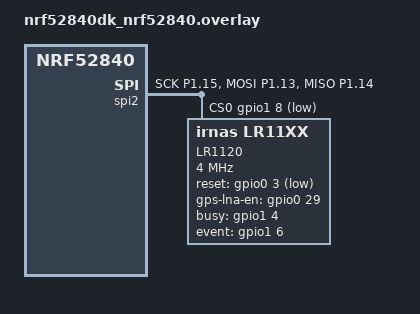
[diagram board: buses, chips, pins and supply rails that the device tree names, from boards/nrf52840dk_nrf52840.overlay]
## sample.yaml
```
sample:
  description: Demonstrates synchronizing device time over LoRaWAN
  name: LoRaWAN time synchronization
common:
  tags:
    - release
  platform_allow:
    - nrf52840dk_nrf52840
tests:
  sample.time_sync: {}
```

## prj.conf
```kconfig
# required for floorf (which is used within the smtc_modem lib)
CONFIG_NEWLIB_LIBC=y

# stack size (2048 required by Semtech)
CONFIG_MAIN_STACK_SIZE=4096
# some operations will be triggered from the system workq, so match above stack size
CONFIG_SYSTEM_WORKQUEUE_STACK_SIZE=4096
# heap size
CONFIG_HEAP_MEM_POOL_SIZE=4096

CONFIG_LOG_BUFFER_SIZE=4096

CONFIG_PINCTRL=y

CONFIG_GPIO=y
CONFIG_SERIAL=y
CONFIG_CONSOLE=y
CONFIG_UART_CONSOLE=y
CONFIG_LOG=y
CONFIG_LOG_BACKEND_UART=y

CONFIG_TEST_RANDOM_GENERATOR=y

CONFIG_SPI=y
CONFIG_LR11XX_LIB=y
# CONFIG_LR11XX_LOG_LEVEL_INF=y

CONFIG_LORA_BASICS_MODEM=y
CONFIG_LORA_BASICS_MODEM_TIME_SYNC=y

#requirements for CONFIG_LORA_BASICS_MODEM
CONFIG_REBOOT=y

CONFIG_SETTINGS=y
CONFIG_SETTINGS_NVS=y

CONFIG_NVS=y
CONFIG_FLASH=y
CONFIG_FLASH_MAP=y

# debug
CONFIG_ASSERT=y
CONFIG_DEBUG=y
```

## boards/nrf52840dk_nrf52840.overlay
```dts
#include <lr11xx_bindings_def.h>
&spi1 {
    status = "disabled";
};

&spi2 {
    compatible = "nordic,nrf-spi";
    status = "okay";
    pinctrl-0 = <&spi2_default>;
    pinctrl-1 = <&spi2_sleep>;
    pinctrl-names = "default", "sleep";

    cs-gpios = <&gpio1 8 GPIO_ACTIVE_LOW>;
    lr1120: lr1120@0 {
        compatible = "irnas,lr11xx";
        reg = <0>;
        spi-max-frequency = <4000000>;
        label = "LR1120";

        reset-gpios = <&gpio0 3 GPIO_ACTIVE_LOW>;
        gps-lna-en-gpios = <&gpio0 29 0>;
        busy-gpios = <&gpio1 4 GPIO_ACTIVE_HIGH>;
        event-gpios = <&gpio1 6 (GPIO_ACTIVE_HIGH | GPIO_PULL_DOWN) >;

        rf-sw-enable = <(LR11XX_DIO5 | LR11XX_DIO6 | LR11XX_DIO7)>;
        rf-sw-rx-mode = <LR11XX_DIO5>;
        rf-sw-tx-mode = <(LR11XX_DIO5 | LR11XX_DIO6)>;
        rf-sw-tx-hp-mode = <LR11XX_DIO6>;
        rf-sw-gnss-mode = <LR11XX_DIO7>;
    };
};

&pinctrl {
	spi2_default: spi2_default {
		group1 {
			psels = <NRF_PSEL(SPIM_SCK, 1, 15)>,
			        <NRF_PSEL(SPIM_MOSI, 1, 13)>,
			        <NRF_PSEL(SPIM_MISO, 1, 14)>;
		};
	};

	spi2_sleep: spi2_sleep {
		group1 {
			psels = <NRF_PSEL(SPIM_SCK, 1, 15)>,
			        <NRF_PSEL(SPIM_MOSI, 1, 13)>,
			        <NRF_PSEL(SPIM_MISO, 1, 14)>;
			low-power-enable;
		};
	};
};
```

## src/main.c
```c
/** @file main.c
 *
 * @brief LoRaWAN time sync example
 *
 * @par
 * COPYRIGHT NOTICE: (c) 2022 Irnas. All rights reserved.
 */

#include <smtc_modem_api.h>

#include <smtc_app.h>
#include <smtc_modem_api_str.h>

/* include hal and ralf so that initialization can be done */
#include <ralf_lr11xx.h>
#include <smtc_modem_hal.h>

#include <zephyr/device.h>
#include <zephyr/kernel.h>
#include <zephyr/logging/log.h>

LOG_MODULE_REGISTER(main);

/* ---------------- Function declarations ---------------- */

static void on_modem_reset(uint16_t reset_count);
static void on_modem_network_joined(void);
static void on_modem_time_sync(smtc_modem_event_time_status_t status);

/* ---------------- SAMPLE CONFIGURATION ---------------- */

/**
 * @brief Application time synchronization service - see @ref smtc_modem_time_sync_service_t
 */
#define APP_MODEM_TIME_SYNC_SERVICE SMTC_MODEM_TIME_MAC_SYNC

/**
 * @brief Application time synchronization interval in second
 */
#define APP_MODEM_TIME_SYNC_INTERVAL_IN_S 900

/* ---------------- LoRaWAN Configurations ---------------- */

/* Stack id value (multistack modem is not yet available, so use 0) */
#define STACK_ID 0

/*LoRaWAN configuration */
static struct smtc_app_lorawan_cfg lorawan_cfg = {
	.use_chip_eui_as_dev_eui = true,
	.join_eui = {0x00, 0x00, 0x00, 0x00, 0x00, 0x00, 0x00, 0x00},
	.app_key = {0x15, 0x1B, 0x76, 0x0D, 0xED, 0x74, 0x87, 0xE7, 0x8A, 0xCA, 0xE8, 0xC8, 0x74,
		    0x16, 0x31, 0x19},
	.class = SMTC_MODEM_CLASS_A,
	.region = SMTC_MODEM_REGION_EU_868,
};

static struct smtc_app_event_callbacks event_callbacks = {
	.reset = on_modem_reset,
	.joined = on_modem_network_joined,
	.time_updated_alc_sync = on_modem_time_sync,

};

/* lr11xx radio context and its use in the ralf layer */
const ralf_t modem_radio = RALF_LR11XX_INSTANTIATE(DEVICE_DT_GET(DT_NODELABEL(lr11xx)));

/* ---------------- Main ---------------- */

K_SEM_DEFINE(main_sleep_sem, 0, 1);

void main(void)
{
	/* configure LoRaWAN modem */

	/* Init the modem and use provided event callbacks.
	 * Please note that the reset callback will be called immediately after the first call to
	 * smtc_modem_run_engine because of reset detection.
	 */
	smtc_app_init(&modem_radio, &event_callbacks, NULL);
	smtc_app_display_versions();

	/* Enter main loop:
	 * The fist call to smtc_modem_run_engine will trigger the reset callback.
	 */

	while (1) {
		/* Execute modem runtime, this function must be called again in sleep_time_ms
		 * milliseconds or sooner. */
		uint32_t sleep_time_ms = smtc_modem_run_engine();

		LOG_INF("Sleeping for %d ms", sleep_time_ms);
		k_sleep(K_MSEC(sleep_time_ms));
	}
}

/**
 * @brief Reset event callback
 *
 * @param [in] reset_count reset counter from the modem
 */
static void on_modem_reset(uint16_t reset_count)
{
	/* configure lorawan parameters after reset and start join sequence */
	smtc_app_configure_lorawan_params(STACK_ID, &lorawan_cfg);
	smtc_modem_join_network(STACK_ID);
}

/**
 * @brief Network Joined event callback
 */
static void on_modem_network_joined(void)
{
	uint32_t time;
	smtc_app_get_utc_time(&time);
	LOG_INF("Joined. Modem time is: %d", time);

	/* configure time sync service */
	smtc_modem_return_code_t ret =
		smtc_modem_time_set_sync_interval_s(APP_MODEM_TIME_SYNC_INTERVAL_IN_S);
	if (ret != SMTC_MODEM_RC_OK) {
		LOG_ERR("Unable to initialize time sync, err: %d", ret);
		/* NOTE: if ret == SMTC_MODEM_RC_FAIL, you might have forgotten to set
		 * CONFIG_LORA_BASICS_MODEM_FILE_UPLOAD
		 */
	}
	smtc_modem_time_start_sync_service(STACK_ID, APP_MODEM_TIME_SYNC_SERVICE);
}

void on_modem_time_sync(smtc_modem_event_time_status_t status)
{
	LOG_INF("Time sync event: %s (%d)", smtc_modem_event_time_status_to_str(status), status);
	if (status == SMTC_MODEM_EVENT_TIME_VALID) {
		uint32_t time;
		smtc_app_get_utc_time(&time);
		LOG_INF("Valid time sync event. Modem time is: %d", time);
	}
}
```
